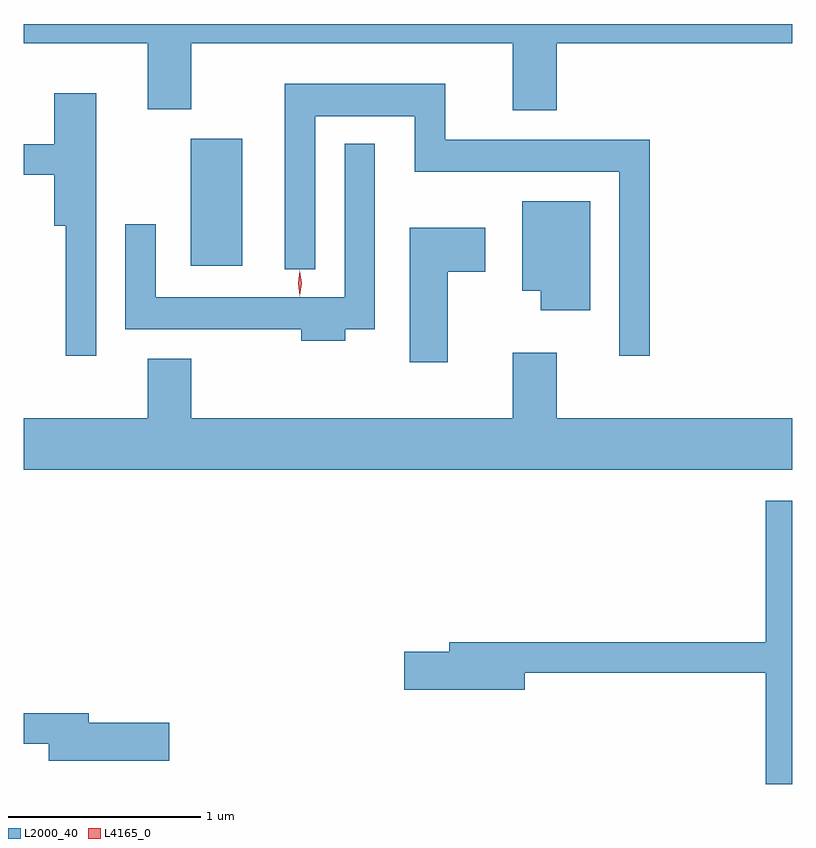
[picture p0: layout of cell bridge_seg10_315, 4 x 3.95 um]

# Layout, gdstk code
import gdstk
lib = gdstk.Library(unit=1e-6, precision=1e-09)
def R(c, l, rs):  # rectangles x0, y0, x1, y1
    for r in rs: c.add(gdstk.rectangle(r[:2], r[2:], *l))
def P(c, l, *ps):  # polygons
    for p in ps: c.add(gdstk.Polygon(p, *l))
L2000_40 = (2000, 40)
L4165_0 = (4165, 0)

bridge_seg10_315 = lib.new_cell('bridge_seg10_315')
R(bridge_seg10_315, L2000_40, [(1444.406,2157.156,1444.674,2157.819)])
P(bridge_seg10_315, L2000_40, [(1446.309,2158.316),(1447.536,2158.316),(1447.536,2158.415),(1443.536,2158.415),(1443.536,2158.316),(1444.181,2158.316),(1444.181,2157.971),(1444.409,2157.971),(1444.409,2158.316),(1446.081,2158.316),(1446.081,2157.966),(1446.309,2157.966)],
  [(1446.794,2157.814),(1445.729,2157.814),(1445.729,2158.104),(1444.896,2158.104),(1444.896,2157.138),(1445.054,2157.138),(1445.054,2157.936),(1445.571,2157.936),(1445.571,2157.646),(1446.636,2157.646),(1446.636,2156.688),(1446.794,2156.688)],
  [(1443.914,2158.054),(1443.696,2158.054),(1443.696,2157.789),(1443.536,2157.789),(1443.536,2157.631),(1443.696,2157.631),(1443.696,2157.366),(1443.756,2157.366),(1443.756,2156.688),(1443.914,2156.688)],
  [(1445.209,2156.826),(1445.364,2156.826),(1445.364,2157.793),(1445.206,2157.793),(1445.206,2156.994),(1444.224,2156.994),(1444.224,2157.373),(1444.066,2157.373),(1444.066,2156.826),(1444.981,2156.826),(1444.981,2156.766),(1445.209,2156.766)],
  [(1446.484,2157.494),(1446.131,2157.494),(1446.131,2157.026),(1446.226,2157.026),(1446.226,2156.926),(1446.484,2156.926)],
  [(1445.744,2157.126),(1445.939,2157.126),(1445.939,2157.354),(1445.546,2157.354),(1445.546,2156.656),(1445.744,2156.656)],
  [(1447.536,2156.364),(1446.309,2156.364),(1446.309,2156.704),(1446.081,2156.704),(1446.081,2156.364),(1444.409,2156.364),(1444.409,2156.674),(1444.181,2156.674),(1444.181,2156.364),(1443.536,2156.364),(1443.536,2156.096),(1447.536,2156.096)],
  [(1447.536,2155.934),(1447.396,2155.934),(1447.396,2155.199),(1445.751,2155.199),(1445.751,2155.149),(1445.516,2155.149),(1445.516,2154.951),(1446.144,2154.951),(1446.144,2155.041),(1447.396,2155.041),(1447.396,2154.461),(1447.536,2154.461)],
  [(1444.294,2154.779),(1443.874,2154.779),(1443.874,2154.829),(1443.536,2154.829),(1443.536,2154.671),(1443.666,2154.671),(1443.666,2154.581),(1444.294,2154.581)])
P(bridge_seg10_315, L4165_0, [(1444.974,2156.999),(1444.973,2157),(1444.964,2157.066),(1444.973,2157.132),(1444.974,2157.133),(1444.974,2157.132),(1444.984,2157.066),(1444.974,2157)])

lib.write_gds('bridge_seg10_315.gds')
